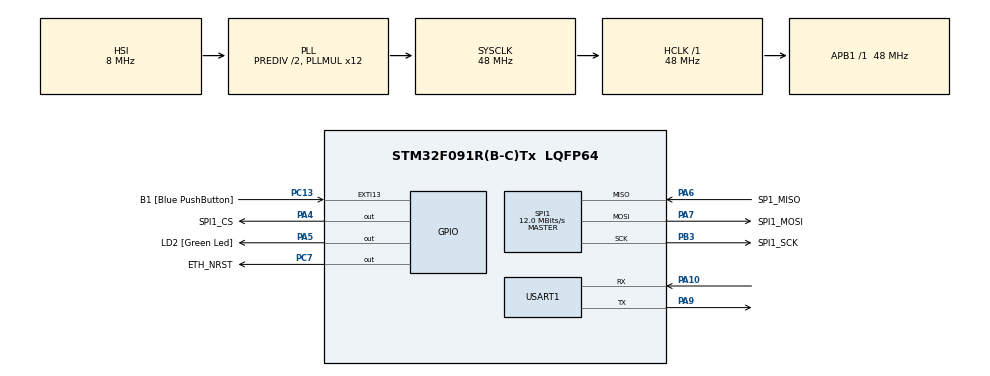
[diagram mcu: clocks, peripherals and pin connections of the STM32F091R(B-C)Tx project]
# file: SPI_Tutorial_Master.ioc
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Mcu.Family=STM32F0
Mcu.Name=STM32F091R(B-C)Tx
Mcu.Package=LQFP64
PA10.Mode=Asynchronous
PA10.Signal=USART1_RX
PA13.GPIO_Label=TMS
PA13.Mode=Serial_Wire
PA13.Signal=SYS_SWDIO
PA14.GPIO_Label=TCK
PA14.Mode=Serial_Wire
PA14.Signal=SYS_SWCLK
PA2.GPIO_Label=USART_TX
PA2.GPIO_Mode=GPIO_MODE_AF_PP
PA2.GPIO_PuPd=GPIO_NOPULL
PA2.GPIO_Speed=GPIO_SPEED_FREQ_LOW
PA2.Signal=USART2_TX
PA3.GPIO_Label=USART_RX
PA3.GPIO_Mode=GPIO_MODE_AF_PP
PA3.GPIO_PuPd=GPIO_NOPULL
PA3.GPIO_Speed=GPIO_SPEED_FREQ_LOW
PA3.Signal=USART2_RX
PA4.GPIO_Label=SPI1_CS
PA4.GPIO_Speed=GPIO_SPEED_FREQ_HIGH
PA4.Signal=GPIO_Output
PA5.GPIO_Label=LD2 [Green Led]
PA5.GPIO_Mode=GPIO_MODE_OUTPUT_PP
PA5.GPIO_PuPd=GPIO_NOPULL
PA5.GPIO_Speed=GPIO_SPEED_FREQ_LOW
PA5.Signal=GPIO_Output
PA6.GPIO_Label=SP1_MISO
PA6.Mode=Full_Duplex_Master
PA6.Signal=SPI1_MISO
PA7.GPIO_Label=SPI1_MOSI
PA7.Mode=Full_Duplex_Master
PA7.Signal=SPI1_MOSI
PA9.Mode=Asynchronous
PA9.Signal=USART1_TX
PB3.GPIO_Label=SPI1_SCK
PB3.Mode=Full_Duplex_Master
PB3.Signal=SPI1_SCK
PC13.GPIO_Label=B1 [Blue PushButton]
PC13.GPIO_ModeDefaultEXTI=GPIO_MODE_IT_FALLING
PC13.Signal=GPXTI13
PC14OSC32_IN.Mode=LSE-External-Oscillator
PC14OSC32_IN.Signal=RCC_OSC32_IN
PC15OSC32_OUT.Mode=LSE-External-Oscillator
PC15OSC32_OUT.Signal=RCC_OSC32_OUT
PC7.GPIO_Label=ETH_NRST
PC7.Signal=GPIO_Output
PF0-OSC_IN.Mode=HSE-External-Clock-Source
PF0-OSC_IN.Signal=RCC_OSC_IN
PF1-OSC_OUT.Signal=RCC_OSC_OUT
ProjectManager.HeapSize=0x200
ProjectManager.StackSize=0x400
ProjectManager.TargetToolchain=STM32CubeIDE
RCC.AHBFreq_Value=48000000
RCC.APB1Freq_Value=48000000
RCC.APB1TimFreq_Value=48000000
RCC.FLatency-AdvancedSettings=FLASH_LATENCY_1
RCC.HCLKFreq_Value=48000000
RCC.PLLDivider=RCC_PREDIV_DIV2
RCC.PLLMUL=RCC_PLL_MUL12
RCC.PREFETCH_ENABLE-AdvancedSettings=1
RCC.SYSCLKFreq_VALUE=48000000
RCC.SYSCLKSource=RCC_SYSCLKSOURCE_PLLCLK
SPI1.BaudRatePrescaler=SPI_BAUDRATEPRESCALER_4
SPI1.CalculateBaudRate=12.0 MBits/s
SPI1.DataSize=SPI_DATASIZE_8BIT
SPI1.Direction=SPI_DIRECTION_2LINES
SPI1.Mode=SPI_MODE_MASTER
SPI1.NSSPMode=SPI_NSS_PULSE_DISABLE
SPI1.VirtualType=VM_MASTER
USART1.VirtualMode-Asynchronous=VM_ASYNC
board=NUCLEO-F091RC

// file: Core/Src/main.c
/* USER CODE BEGIN Header */
/**
  ******************************************************************************
  * @file           : main.c
  * @brief          : Main program body
  ******************************************************************************
  * @attention
  *
  * <h2><center>&copy; Copyright (c) 2020 STMicroelectronics.
  * All rights reserved.</center></h2>
  *
  * This software component is licensed by ST under BSD 3-Clause license,
  * the "License"; You may not use this file except in compliance with the
  * License. You may obtain a copy of the License at:
  *                        opensource.org/licenses/BSD-3-Clause
  *
  ******************************************************************************
  */
/* USER CODE END Header */

#include "main.h"
#include "spi.h"
#include "usart.h"
#include "gpio.h"

/* USER CODE BEGIN Includes */
#include <string.h>
#include <stdbool.h>
#include <stdio.h>
#include "ksz8851.h"
/* USER CODE END Includes */

/* USER CODE BEGIN PM */
#define MCU_UART_CLK_ENABLE()		__HAL_RCC_USART1_CLK_ENABLE()
#define MCU_UART_PORT_CLK_ENABLE()	__HAL_RCC_GPIOA_CLK_ENABLE()
/* USER CODE END PM */

/* USER CODE BEGIN PV */
//uint8_t spi_buffer_tx[32] = {"TEST DATA SENT FROM MASTER"};
uint16_t kszRegVal = 0, MAC_low = 0, MAC_mid = 0, MAC_high = 0;
uint8_t spi_buffer_tx[32] = {0};
uint8_t spi_buffer_rx[32] = {0};
uint8_t	uart_buffer_tx[32] = {0};
uint8_t spi_return = 0;
KSZ8851_t ksz8851;
uint8_t mac[KSZ_MAC_ADDRR_LEN] = {0x01, 0x23, 0x45, 0x67, 0x89, 0xAB};
uint8_t spi_status1, spi_status2, spi_status3;
uint8_t counter = 0;
//void *test;
/* USER CODE END PV */

void SystemClock_Config(void);
/* USER CODE BEGIN PFP */
//void HAL_SPI_TxRxCpltCallback(SPI_HandleTypeDef *hspi);
uint32_t callback_ksz8851_GetTick(void);
uint8_t callback_ksz8851_SPI_Transmit(uint8_t *pTxBuffer, uint16_t dataLenght);
uint8_t callback_ksz8851_SPI_TransmitReceive(uint8_t *pTxBuffer, uint8_t *pRxBuffer, uint16_t dataLenght);
void 	callback_ksz8851_GPIO_Control(uint32_t port, uint16_t pin, uint8_t pinStatus);
/* USER CODE END PFP */

/* USER CODE BEGIN 0 */

KSZ8851_Callbacks_t callbacks = {callback_ksz8851_GetTick,
								 callback_ksz8851_SPI_Transmit,
								 callback_ksz8851_SPI_TransmitReceive,
								 callback_ksz8851_GPIO_Control};

/* USER CODE END 0 */

int main(void)
{

  /* MCU Configuration--------------------------------------------------------*/

  /* Reset of all peripherals, Initializes the Flash interface and the Systick. */
  HAL_Init();

  /* Configure the system clock */
  SystemClock_Config();

  /* Initialize all configured peripherals */
  MX_GPIO_Init();
  MX_SPI1_Init();
  MX_USART1_UART_Init();
  /* USER CODE BEGIN 2 */
//  printf("\e[94m\r\n");

  HAL_GPIO_WritePin(ETH_NRST_GPIO_Port, ETH_NRST_Pin, GPIO_PIN_RESET);
  HAL_Delay(500);
  HAL_GPIO_WritePin(ETH_NRST_GPIO_Port, ETH_NRST_Pin, GPIO_PIN_SET);

//  HAL_SetTickFreq(HAL_TICK_FREQ_10HZ);

  ksz8851_init(&ksz8851, (uint32_t)SPI1_CS_GPIO_Port, SPI1_CS_Pin, (uint32_t)ETH_NRST_GPIO_Port, ETH_NRST_Pin, mac, callbacks);
//  printf("MAC Addrr: %x %x %x %x %x %x \r\n", ksz8851.MAC_address[0], ksz8851.MAC_address[1],
//		  	  	  	  	  	  	  	  	  	  ksz8851.MAC_address[2], ksz8851.MAC_address[3],
//											  ksz8851.MAC_address[4], ksz8851.MAC_address[5]);

  /* USER CODE END 2 */

  /* Infinite loop */
  /* USER CODE BEGIN WHILE */
  while (1)
  {
	  if(HAL_GPIO_ReadPin(B1_GPIO_Port, B1_Pin) == false)
	  {
		  if(ksz8851_read_register(&ksz8851, KSZ_REG_ADDR_CIDER0, &kszRegVal) == 0)
		  {

				  ksz8851_read_register(&ksz8851, KSZ_REG_ADDR_CIDER0, &kszRegVal);
				  printf("\r\nKSZ8851 CHIP ID: %x\r\n", kszRegVal);

				  printf("WRITE NEW MAC ADDRESSES: LOW: %x MIDDLE: %x HIGH: %x\r\n", ksz8851.MAC_Address.Group.low, ksz8851.MAC_Address.Group.middle, ksz8851.MAC_Address.Group.high);
				  spi_status1 = ksz8851_write_register(&ksz8851, KSZ_REG_ADDR_MARL0, ksz8851.MAC_Address.Group.low);
				  spi_status1 = ksz8851_write_register(&ksz8851, KSZ_REG_ADDR_MARL0, ksz8851.MAC_Address.Group.low);
				  spi_status2 = ksz8851_write_register(&ksz8851, KSZ_REG_ADDR_MARM0, ksz8851.MAC_Address.Group.middle);
				  spi_status3 = ksz8851_write_register(&ksz8851, KSZ_REG_ADDR_MARH0, ksz8851.MAC_Address.Group.high);

				  ksz8851_read_register(&ksz8851, KSZ_REG_ADDR_MARL0, &MAC_low);
				  printf("NEW MAC ADDR LOW: %x, SPI STATUS: %d\r\n", MAC_low, spi_status1);
				  ksz8851_read_register(&ksz8851, KSZ_REG_ADDR_MARM0, &MAC_mid);
				  printf("NEW MAC ADDR MIDDLE: %x, SPI STATUS: %d\r\n", MAC_mid, spi_status2);
				  ksz8851_read_register(&ksz8851, KSZ_REG_ADDR_MARH0, &MAC_high);
				  printf("NEW MAC ADDR HIGH: %x, SPI STATUS: %d\r\n", MAC_high, spi_status3);

				  if(ksz8851.MAC_Address.Group.low != MAC_low)
				  {
					  printf("WRITING ERROR MAC ADDR LOW! Current: %x, Desired: %x , SPI Comm Status: %d\r\n", MAC_low, ksz8851.MAC_Address.Group.low, spi_status1);
				  }

				  if(ksz8851.MAC_Address.Group.middle != MAC_mid)
				  {
					  printf("WRITING ERROR MAC ADDR MIDDLE! Current: %x, Desired: %x , SPI Comm Status: %d\r\n", MAC_mid, ksz8851.MAC_Address.Group.middle, spi_status2);
				  }

				  if(ksz8851.MAC_Address.Group.high != MAC_high)
				  {
					  printf("WRITING ERROR MAC ADDR HIGH! Current: %x, Desired: %x , SPI Comm Status: %d\r\n", MAC_high, ksz8851.MAC_Address.Group.high, spi_status3);
				  }

				  ksz8851.MAC_Address.Group.low += 1;
				  ksz8851.MAC_Address.Group.middle += 1;
				  ksz8851.MAC_Address.Group.high += 1;

				  HAL_GPIO_TogglePin(LD2_GPIO_Port, LD2_Pin);

				  HAL_Delay(500);
		  }
		  else
		  {
			  printf("SPI MASTER TX COMM ERROR\r\n");
		  }

		  HAL_GPIO_WritePin(SPI1_CS_GPIO_Port, SPI1_CS_Pin, GPIO_PIN_SET);

		  while(HAL_GPIO_ReadPin(B1_GPIO_Port, B1_Pin) == false);
		  memset(spi_buffer_rx, 0, sizeof(spi_buffer_rx));
	  }

	  HAL_Delay(200);
    /* USER CODE END WHILE */

  }
}

void SystemClock_Config(void)
{
  RCC_OscInitTypeDef RCC_OscInitStruct = {0};
  RCC_ClkInitTypeDef RCC_ClkInitStruct = {0};
  RCC_PeriphCLKInitTypeDef PeriphClkInit = {0};

  /** Initializes the CPU, AHB and APB busses clocks
  */
  RCC_OscInitStruct.OscillatorType = RCC_OSCILLATORTYPE_HSI;
  RCC_OscInitStruct.HSIState = RCC_HSI_ON;
  RCC_OscInitStruct.HSICalibrationValue = RCC_HSICALIBRATION_DEFAULT;
  RCC_OscInitStruct.PLL.PLLState = RCC_PLL_ON;
  RCC_OscInitStruct.PLL.PLLSource = RCC_PLLSOURCE_HSI;
  RCC_OscInitStruct.PLL.PLLMUL = RCC_PLL_MUL12;
  RCC_OscInitStruct.PLL.PREDIV = RCC_PREDIV_DIV2;
  if (HAL_RCC_OscConfig(&RCC_OscInitStruct) != HAL_OK)
  {
    Error_Handler();
  }
  /** Initializes the CPU, AHB and APB busses clocks
  */
  RCC_ClkInitStruct.ClockType = RCC_CLOCKTYPE_HCLK|RCC_CLOCKTYPE_SYSCLK
                              |RCC_CLOCKTYPE_PCLK1;
  RCC_ClkInitStruct.SYSCLKSource = RCC_SYSCLKSOURCE_PLLCLK;
  RCC_ClkInitStruct.AHBCLKDivider = RCC_SYSCLK_DIV1;
  RCC_ClkInitStruct.APB1CLKDivider = RCC_HCLK_DIV1;

  if (HAL_RCC_ClockConfig(&RCC_ClkInitStruct, FLASH_LATENCY_1) != HAL_OK)
  {
    Error_Handler();
  }
  PeriphClkInit.PeriphClockSelection = RCC_PERIPHCLK_USART1;
  PeriphClkInit.Usart1ClockSelection = RCC_USART1CLKSOURCE_PCLK1;
  if (HAL_RCCEx_PeriphCLKConfig(&PeriphClkInit) != HAL_OK)
  {
    Error_Handler();
  }
}

/* USER CODE BEGIN 4 */
uint8_t mcu_UartExt_Write(uint8_t* pData, uint16_t Size, uint32_t Timeout)
{
	MCU_UART_CLK_ENABLE();
	MCU_UART_PORT_CLK_ENABLE();
//	return 1;
	return (uint8_t)HAL_UART_Transmit(&huart1, pData, Size, Timeout);
}

int _write(int file, char *data, int len)
{
	UNUSED(file);
	uint8_t status = mcu_UartExt_Write((uint8_t*)data, len, 300);
	// return # of bytes written - as best we can tell
	return (status == HAL_OK ? len : 0);
}

//void HAL_SPI_TxRxCpltCallback(SPI_HandleTypeDef *hspi)
//{
//	HAL_GPIO_WritePin(SPI1_CS_GPIO_Port, SPI1_CS_Pin, GPIO_PIN_SET);
//	HAL_GPIO_TogglePin(LD2_GPIO_Port, LD2_Pin);
//	printf("RECEIVED SPI DATA [MASTER]: %x %x %x %x\r\n", spi_buffer_rx[3], spi_buffer_rx[2], spi_buffer_rx[1], spi_buffer_rx[0]);
//}

uint32_t callback_ksz8851_GetTick(void)
{
	return HAL_GetTick();
}

uint8_t callback_ksz8851_SPI_Transmit(uint8_t *pTxBuffer, uint16_t dataLenght)
{
	uint8_t retStatus = HAL_SPI_Transmit(&hspi1, pTxBuffer, dataLenght, 4000);
//	HAL_Delay(1);
	printf("callback_ksz8851_transmit(txBuff: %x %x %x %x, length: %d)\r\n", *(pTxBuffer), *(pTxBuffer+1), *(pTxBuffer+2), *(pTxBuffer+3), dataLenght);
	return retStatus;
}

uint8_t callback_ksz8851_SPI_TransmitReceive(uint8_t *pTxBuffer, uint8_t *pRxBuffer, uint16_t dataLenght)
{
	uint8_t retStatus = HAL_SPI_TransmitReceive(&hspi1, pTxBuffer, pRxBuffer, dataLenght, 4000);
	printf("callback_ksz8851_transmitReceive(rxBuff: %x %x %x %x, length: %d)\r\n", *(pRxBuffer), *(pRxBuffer+1), *(pRxBuffer+2), *(pRxBuffer+3), dataLenght);
//	HAL_Delay(1);
	return retStatus;
}

void callback_ksz8851_GPIO_Control(uint32_t port, uint16_t pin, uint8_t pinStatus)
{
	HAL_GPIO_WritePin((GPIO_TypeDef *)port, pin, pinStatus);
}

/* USER CODE END 4 */

void Error_Handler(void)
{
}

/************************ (C) COPYRIGHT STMicroelectronics *****END OF FILE****/
